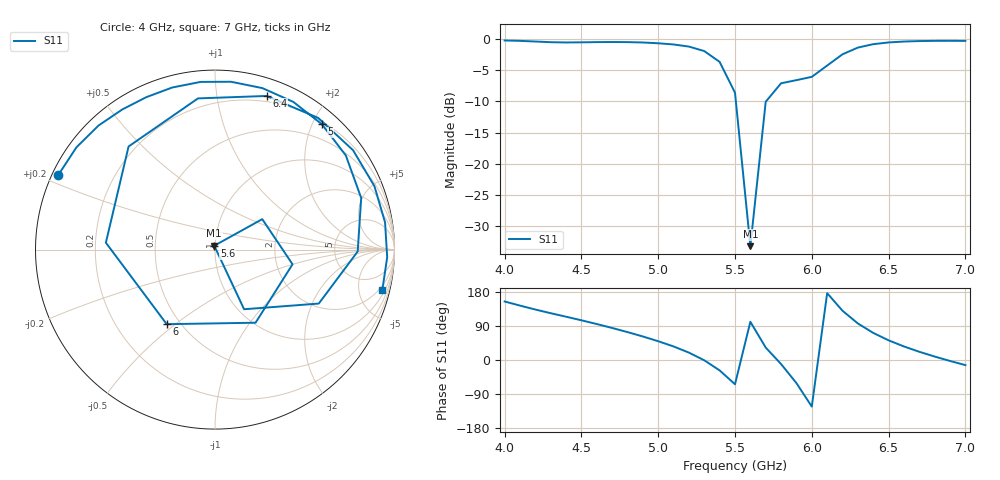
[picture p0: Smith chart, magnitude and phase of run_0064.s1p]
! Touchstone file exported from HFSS 2024.2.0
!  File:  C:/Users/wsak9/Desktop/Sim Fast/Widenad Patch/WP_AI_V1_sweep.aedt
!  Generated:  05:36:24 PM Oct 13, 2026
!  Design:  A1_model
!  Project:  WP_AI_V1_sweep
!  Setup:  Setup1
!  Solution:  Sweep
! Variables:
!  Air_gap = 2.96mm
!  Curve_Amp1 = 2.13
!  Curve_len1 = 1
!  Curve_pos = 11.055mm
!  Extra = 2.72mm
!  H_sub = 0.79mm
!  L_Patch = 18.11mm
!  L_Patch1 = 17.5mm
!  Sx = 1.61mm
!  Sy = 0.59mm
!  WS = 0.27mm
!  W_Patch = 21.22mm
!  W_Patch1 = 14.78mm
!Data is not renormalized
# GHz S MA
! Terminal data exported
! Port[1] = 1
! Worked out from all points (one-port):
!   31 points, 4 GHz to 7 GHz, reference per port
!   lowest |S11| = -33.2 dB at 5.6 GHz (marker M1), VSWR 1.04
!   |S11| at or under -10 dB: 5.506 GHz to 5.703 GHz (197.3 MHz wide, 3.52 % of centre)
!   S11 on the Smith chart (normalised r, x): 4 GHz: 0.02, +0.23; 5 GHz: 0.24, +2.14; 5.6 GHz: 0.99, +0.04; 6 GHz: 0.42, -0.47; 6.4 GHz: 0.15, +1.38; 7 GHz: 1.47, -8.19
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4  0.9667 154.4
4.2  0.9481 133.2
4.4  0.9315 114.2
4.6  0.9377 94.9
4.7  0.9394 84.5
4.8  0.9377 73.7
4.9  0.9314 62.1
5  0.9178 49.6
5.1  0.8981 35.8
5.2  0.8639 19.5
5.3  0.7951 -0.8
5.4  0.6517 -27.5
5.5  0.3697 -64.0
5.6  0.02199 100.8
5.7  0.3132 32.8
5.8  0.4398 -10.7
5.9  0.4658 -61.0
6  0.495 -122.9
6.1  0.6092 176.4
6.2  0.7496 130.0
6.3  0.8478 96.4
6.4  0.9028 71.5
6.5  0.9322 51.9
6.6  0.9478 35.7
6.7  0.9559 21.7
6.8  0.9596 9.1
6.9  0.9603 -2.5
7  0.959 -13.5
